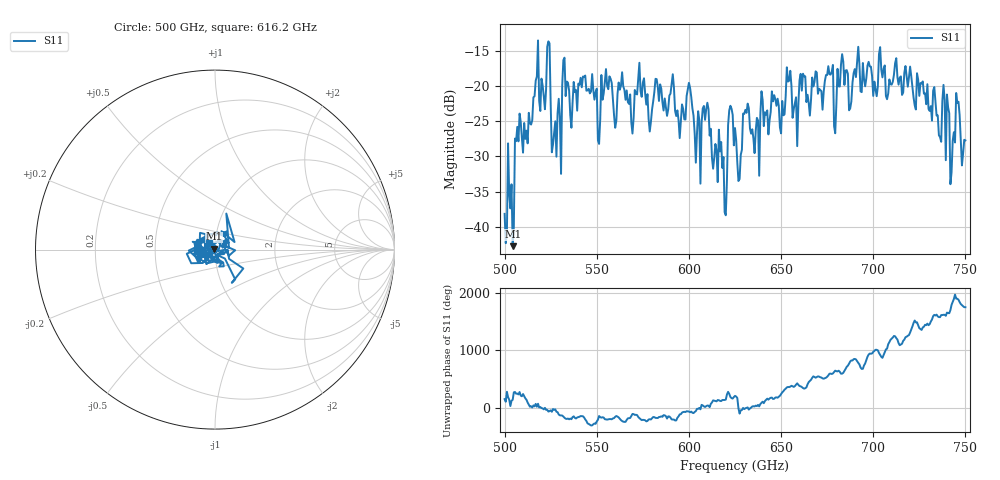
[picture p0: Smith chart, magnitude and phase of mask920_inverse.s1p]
!Created with skrf (http://scikit-rf.org).
# GHz S MA R 50.0
!freq magS11 angS11
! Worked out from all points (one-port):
!   401 points, 500 GHz to 750 GHz, reference 50 ohm
!   lowest |S11| = -42.7 dB at 504.4 GHz (marker M1), VSWR 1.01, Z = 49.4 + j0.46 ohm
!   |S11| at or under -10 dB: start of sweep to end of sweep
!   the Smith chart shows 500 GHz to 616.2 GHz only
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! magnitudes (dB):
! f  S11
! 500 GHz  -38.1
! 504.4 GHz  -42.7
! 506.9 GHz  -25.8
! 513.8 GHz  -25.3
! 516.9 GHz  -19.2
! 523.8 GHz  -13.7
! 526.9 GHz  -26.6
! 531.2 GHz  -19.9
! 562.5 GHz  -20.5
! 579.4 GHz  -25.1
! 590.6 GHz  -19.8
! 593.8 GHz  -23.5
! 600 GHz  -19.6
! 605 GHz  -23.6
! 609.4 GHz  -23.3
! 619.4 GHz  -37.9
! 622.5 GHz  -22.8
! 625 GHz  -26.0
! 627.5 GHz  -33.2
! 630.6 GHz  -23.4
! 636.9 GHz  -24.5
! 656.2 GHz  -24.5
! 680 GHz  -22.6
! 683.8 GHz  -16.6
! 687.5 GHz  -23.2
! 691.2 GHz  -16.7
! 718.8 GHz  -20.1
! 750 GHz  -27.7
